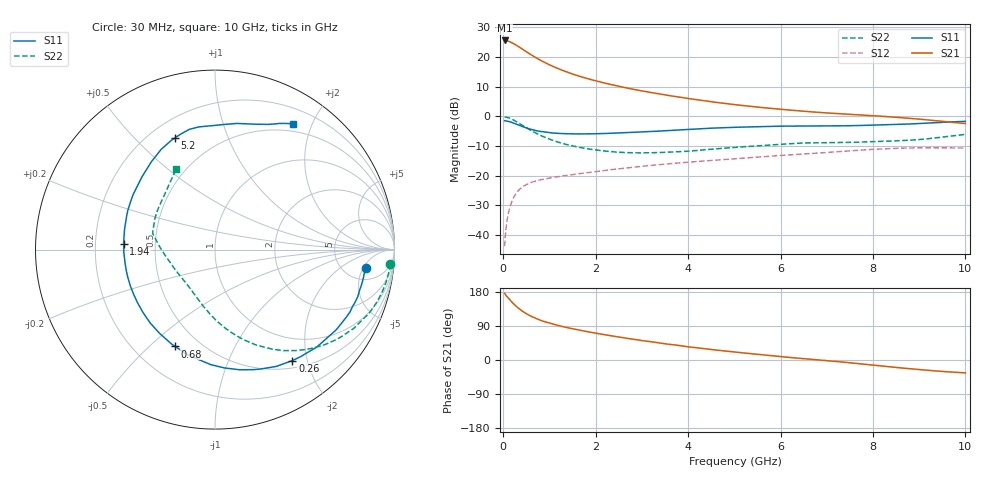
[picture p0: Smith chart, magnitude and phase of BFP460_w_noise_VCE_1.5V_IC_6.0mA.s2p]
! (c) 2016  Infineon Technologies AG, Munich
! Infineon Technologies  Discrete & RF Semiconductors
! BFP460
! VCE =  1.5 V,  IC =  6.0 mA
! Common Emitter S-Parameters:  Jan 2016
# GHz  S  MA  R  50
!  f  S11  S21  S12  S22
! GHz  MAG  ANG  MAG  ANG  MAG  ANG  MAG  ANG
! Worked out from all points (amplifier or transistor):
!   229 points, 30 MHz to 10 GHz, reference 50 ohm
!   highest |S21| = 25.6 dB at 30 MHz (marker M1)
!   |S21| within 3 dB of that: start of sweep to 421.7 MHz
!   unconditionally stable (mu >= 1): 2.878 GHz to 8.886 GHz
!   at 280 MHz: K = 0.19, MSG = 25.0 dB, |S12| = -25.9 dB
!   at 1.78 GHz: K = 0.82, MSG = 16.0 dB, |S12| = -19.0 dB
!   at 10 GHz: K = 0.98, MSG = 4.1 dB, |S12| = -10.6 dB
!   lowest NFmin = 0.83 dB at 450 MHz
!   S11 on the Smith chart (normalised r, x): 30 MHz: 7.98, -5.63; 260 MHz: 0.61, -1.75; 680 MHz: 0.37, -0.61; 1.94 GHz: 0.33, +0.03; 5.2 GHz: 0.30, +0.66; 10 GHz: 0.39, +1.73
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0.03  0.8461 -6.8  19.08 175.8  0.0065 86.2  0.9802 -4.7
0.07  0.8365 -15.9  18.97 168.9  0.0149 81.7  0.97 -10.9
0.14  0.8137 -31.3  18.21 159.2  0.0287 73.7  0.9337 -21.3
0.2  0.7853 -43.7  17.32 151.2  0.0392 67.6  0.8894 -29.5
0.26  0.7539 -55.1  16.29 144.0  0.048 62.2  0.8388 -36.9
0.34  0.7125 -69.0  14.88 135.6  0.0577 56.2  0.7692 -45.7
0.45  0.6613 -85.5  13.05 125.9  0.0676 49.9  0.6805 -55.8
0.6  0.6068 -104.1  10.97 115.5  0.0769 44.2  0.5798 -66.6
0.68  0.5835 -112.3  10.05 111.1  0.0806 42.0  0.5363 -71.2
0.8  0.5597 -123.5  8.882 105.1  0.0852 39.5  0.4814 -77.6
0.9  0.5454 -131.5  8.094 101.0  0.0885 38.2  0.4444 -82.2
1.1  0.5239 -145.1  6.834 93.8  0.0943 36.3  0.3881 -90.0
1.4  0.5107 -161.3  5.523 85.0  0.1021 34.9  0.3316 -99.6
1.7  0.5067 -174.3  4.627 77.6  0.1098 34.3  0.296 -107.8
1.94  0.5095 176.7  4.098 72.1  0.1161 33.8  0.2763 -114.0
2.6  0.5321 156.3  3.099 58.7  0.1338 32.4  0.2466 -131.1
3.4  0.5676 137.3  2.376 44.7  0.1546 29.7  0.2464 -150.4
5.1  0.6584 110.7  1.551 19.8  0.1952 23.4  0.3046 178.3
5.2  0.6614 109.6  1.521 18.6  0.198 23.0  0.3079 177.3
6.8  0.6889 94.6  1.175 0.4  0.2406 15.2  0.3594 164.6
8.4  0.7259 74.6  0.98 -18.4  0.2884 3.5  0.3849 147.7
10  0.8257 58.1  0.758 -34.0  0.2939 -8.2  0.4985 115.7
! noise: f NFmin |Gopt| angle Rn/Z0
0.45  0.83  0.28  16  0.15
0.9  0.84  0.26  37  0.16
1.9  1.07  0.14  103  0.12
3.5  1.18  0.31  -149  0.11
